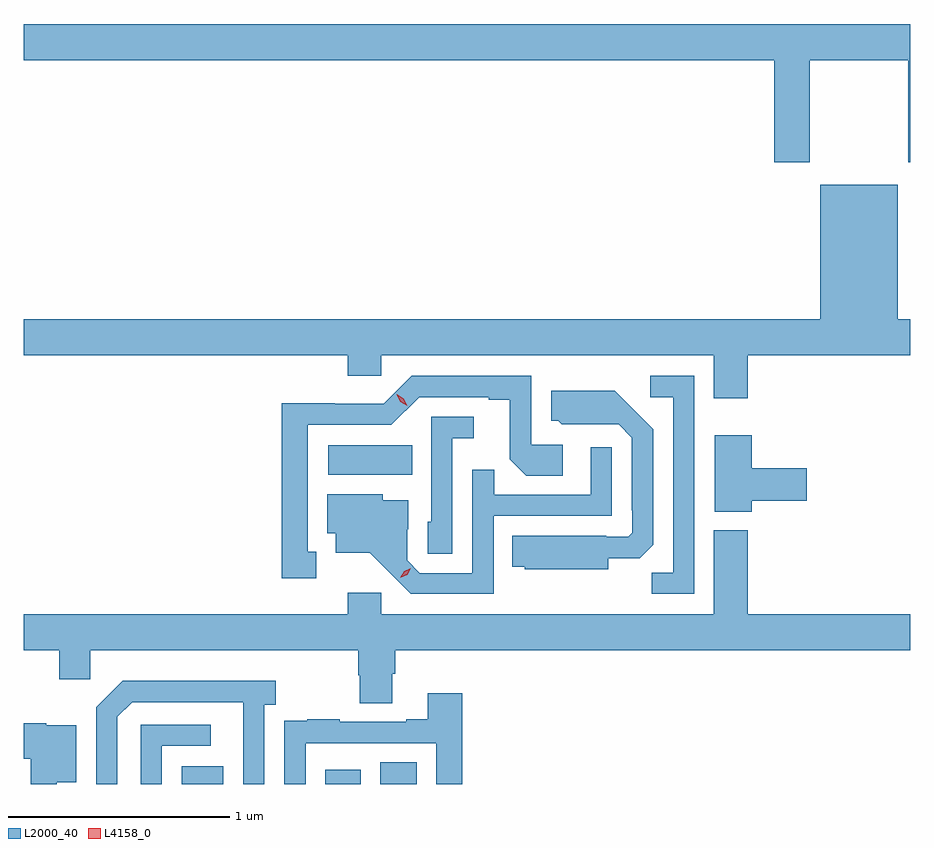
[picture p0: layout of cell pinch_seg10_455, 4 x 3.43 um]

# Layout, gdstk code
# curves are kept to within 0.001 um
import gdstk
lib = gdstk.Library(unit=1e-6, precision=1e-09)
def R(c, l, rs):  # rectangles x0, y0, x1, y1
    for r in rs: c.add(gdstk.rectangle(r[:2], r[2:], *l))
def P(c, l, *ps):  # polygons
    for p in ps: c.add(gdstk.Polygon(p, *l))
L2000_40 = (2000, 40)
L4158_0 = (4158, 0)

pinch_seg10_455 = lib.new_cell('pinch_seg10_455')
R(pinch_seg10_455, L2000_40, [(293.003,1289.057,293.191,1289.137), (293.651,1289.057,293.812,1289.122), (293.9,1289.057,294.064,1289.156), (293.664,1290.452,294.044,1290.586)])
P(pinch_seg10_455, L2000_40, [(295.839,1292.324),(296.284,1292.324),(296.284,1291.863),(296.291,1291.863),(296.291,1292.488),(292.291,1292.488),(292.291,1292.324),(295.679,1292.324),(295.679,1291.863),(295.839,1291.863)],
  [(295.559,1290.992),(296.291,1290.992),(296.291,1291.156),(296.236,1291.156),(296.236,1291.762),(295.886,1291.762),(295.886,1291.156),(292.291,1291.156),(292.291,1290.992),(293.753,1290.992),(293.753,1290.899),(293.904,1290.899),(293.904,1290.992),(295.406,1290.992),(295.406,1290.798),(295.559,1290.798)],
  [(295.317,1290.9),(295.119,1290.9),(295.119,1290.804),(295.221,1290.804),(295.221,1290.011),(295.126,1290.011),(295.126,1289.916),(295.317,1289.916)],
  [(293.611,1290.105),(293.572,1290.105),(293.572,1290.678),(293.949,1290.678),(294.075,1290.804),(294.389,1290.804),(294.389,1290.792),(294.483,1290.792),(294.483,1290.524),(294.559,1290.448),(294.724,1290.448),(294.724,1290.588),(294.582,1290.588),(294.582,1290.9),(294.042,1290.9),(293.916,1290.774),(293.694,1290.774),(293.694,1290.776),(293.454,1290.776),(293.454,1289.985),(293.611,1289.985)],
  [(294.928,1290.077),(295.072,1290.077),(295.131,1290.136),(295.131,1290.658),(294.959,1290.832),(294.671,1290.832),(294.671,1290.696),(294.702,1290.696),(294.718,1290.68),(294.975,1290.681),(295.035,1290.621),(295.035,1290.292),(295.038,1290.292),(295.038,1290.192),(295.02,1290.174),(294.92,1290.174),(294.92,1290.178),(294.496,1290.178),(294.496,1290.038),(294.552,1290.038),(294.552,1290.026),(294.928,1290.026)],
  [(294.225,1290.617),(294.322,1290.617),(294.322,1290.714),(294.129,1290.714),(294.129,1290.24),(294.114,1290.24),(294.114,1290.097),(294.225,1290.097)],
  [(295.576,1290.335),(295.825,1290.335),(295.825,1290.482),(295.576,1290.482),(295.576,1290.631),(295.409,1290.631),(295.409,1290.287),(295.576,1290.287)],
  [(294.411,1290.267),(294.945,1290.267),(294.945,1290.577),(294.849,1290.577),(294.849,1290.363),(294.413,1290.363),(294.413,1290.476),(294.315,1290.476),(294.315,1290.009),(294.078,1290.009),(294.021,1290.066),(294.021,1290.208),(294.025,1290.208),(294.025,1290.337),(293.91,1290.337),(293.91,1290.364),(293.66,1290.364),(293.66,1290.188),(293.699,1290.188),(293.699,1290.101),(293.851,1290.101),(294.038,1289.916),(294.411,1289.916)],
  [(293.953,1289.554),(293.966,1289.554),(293.966,1289.66),(296.291,1289.66),(296.291,1289.824),(295.559,1289.824),(295.559,1290.202),(295.406,1290.202),(295.406,1289.824),(293.904,1289.824),(293.904,1289.92),(293.753,1289.92),(293.753,1289.824),(292.291,1289.824),(292.291,1289.66),(292.451,1289.66),(292.451,1289.529),(292.59,1289.529),(292.59,1289.66),(293.801,1289.66),(293.801,1289.547),(293.806,1289.547),(293.806,1289.422),(293.953,1289.422)],
  [(292.713,1289.361),(292.779,1289.427),(293.28,1289.427),(293.28,1289.057),(293.376,1289.057),(293.376,1289.414),(293.428,1289.414),(293.428,1289.524),(292.738,1289.524),(292.617,1289.403),(292.617,1289.057),(292.713,1289.057)],
  [(293.562,1289.241),(294.153,1289.241),(294.153,1289.057),(294.269,1289.057),(294.269,1289.467),(294.113,1289.467),(294.113,1289.35),(294.017,1289.35),(294.017,1289.337),(293.717,1289.337),(293.717,1289.35),(293.569,1289.35),(293.569,1289.343),(293.467,1289.343),(293.467,1289.234),(293.466,1289.234),(293.466,1289.057),(293.562,1289.057)],
  [(292.439,1289.066),(292.528,1289.066),(292.528,1289.323),(292.392,1289.323),(292.392,1289.331),(292.291,1289.331),(292.291,1289.171),(292.321,1289.171),(292.321,1289.057),(292.439,1289.057)],
  [(292.914,1289.229),(293.134,1289.229),(293.134,1289.325),(292.818,1289.325),(292.818,1289.057),(292.914,1289.057)])
P(pinch_seg10_455, L4158_0, [(293.99,1289.987),(293.99,1289.987),(294.007,1290.017),(294.038,1290.032),(294.038,1290.032),(294.038,1290.032),(294.021,1290.002),(293.99,1289.987)],
  [(294.022,1290.764),(293.99,1290.783),(293.973,1290.816),(293.973,1290.816),(293.973,1290.816),(294.005,1290.797),(294.022,1290.765),(294.022,1290.764)])

lib.write_gds('pinch_seg10_455.gds')
